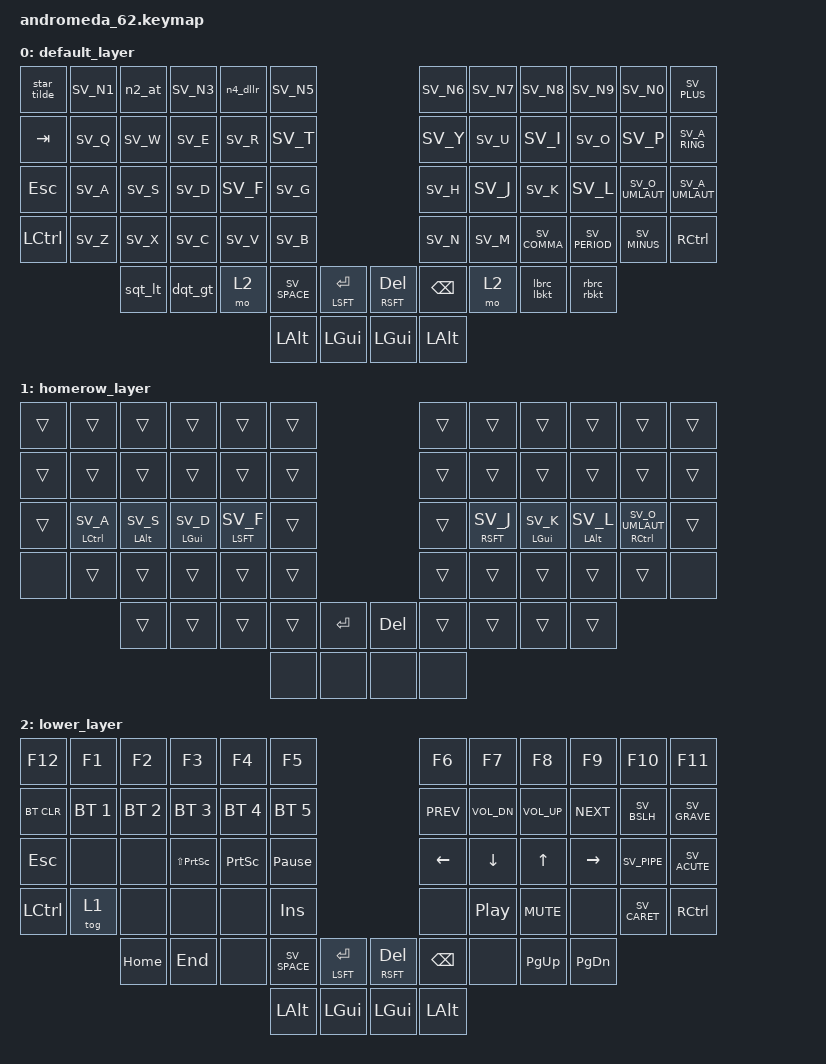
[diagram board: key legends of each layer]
#include <behaviors.dtsi>
#include <dt-bindings/zmk/keys.h>
#include <locale/keys_sv.h>
#include <dt-bindings/zmk/bt.h>

#define KEYS_L \
    0  1  2  3  4  5 \
    12 13 14 15 16 17 \
    24 25 26 27 28 29 \
    36 37 38 39 40 41

#define KEYS_R \
    6  7  8  9  10 11 \
    18 19 20 21 22 23 \
    30 31 32 33 34 35 \
    42 43 44 45 46 47

#define THUMBS \
    48 49 50 51 52 \
    53 54 55 56 57 \
    58 59 60 61

/ {
    behaviors {
        lbrc_lbkt: left_brace_bracket {
            compatible = "zmk,behavior-mod-morph";
            #binding-cells = <0>;
            bindings = <&kp SV_LBRC>, <&kp SV_LBKT>;
            mods = <(MOD_LSFT|MOD_RSFT)>;
        };
        rbrc_rbkt: right_brace_bracket {
            compatible = "zmk,behavior-mod-morph";
            #binding-cells = <0>;
            bindings = <&kp SV_RBRC>, <&kp SV_RBKT>;
            mods = <(MOD_LSFT|MOD_RSFT)>;
        };

        sqt_lt: singleQuote_lessThan {
            compatible = "zmk,behavior-mod-morph";
            #binding-cells = <0>;
            bindings = <&kp SV_SQT>, <&kp SV_LT>;
            mods = <(MOD_LSFT|MOD_RSFT)>;
        };
        dqt_gt: dubbleQuote_greaterThan {
            compatible = "zmk,behavior-mod-morph";
            #binding-cells = <0>;
            bindings = <&kp SV_DQT>, <&kp SV_GT>;
            mods = <(MOD_LSFT|MOD_RSFT)>;
        };

        star_tilde: star_tilde {
            compatible = "zmk,behavior-mod-morph";
            #binding-cells = <0>;
            bindings = <&kp SV_STAR>, <&kp SV_TILDE>;
            mods = <(MOD_LSFT|MOD_RSFT)>;
        };

        /*
         * KEY               -> 2
         * SHIFT + KEY       -> @
         * MOD + SHIFT + KEY -> MOD + SHIFT + 2
         */
        at_gs2: at_guiShiftN2 {
            compatible = "zmk,behavior-mod-morph";
            #binding-cells = <0>;
            bindings = <&kp SV_AT>, <&kp LS(SV_N2)>;
            mods = <(MOD_LCTL|MOD_RCTL|MOD_LALT|MOD_RALT|MOD_LGUI|MOD_RGUI)>;
            keep-mods = <(MOD_LCTL|MOD_RCTL|MOD_LALT|MOD_RALT|MOD_LGUI|MOD_RGUI)>;
        };
        n2_at: n2_at {
            compatible = "zmk,behavior-mod-morph";
            #binding-cells = <0>;
            bindings = <&kp SV_N2>, <&at_gs2>;
            mods = <(MOD_LSFT|MOD_RSFT)>;
        };

        /*
         * KEY               -> 4
         * SHIFT + KEY       -> $
         * MOD + SHIFT + KEY -> MOD + SHIFT + 4
         */
        dllr_gs4: dollar_guiShiftN4 {
            compatible = "zmk,behavior-mod-morph";
            #binding-cells = <0>;
            bindings = <&kp SV_DLLR>, <&kp LS(SV_N4)>;
            mods = <(MOD_LCTL|MOD_RCTL|MOD_LALT|MOD_RALT|MOD_LGUI|MOD_RGUI)>;
            keep-mods = <(MOD_LCTL|MOD_RCTL|MOD_LALT|MOD_RALT|MOD_LGUI|MOD_RGUI)>;
        };
        n4_dllr: n4_dollar {
            compatible = "zmk,behavior-mod-morph";
            #binding-cells = <0>;
            bindings = <&kp SV_N4>, <&dllr_gs4>;
            mods = <(MOD_LSFT|MOD_RSFT)>;
        };

        hml: home_row_mod_left {
            compatible = "zmk,behavior-hold-tap";
            #binding-cells = <2>;

            flavor = "balanced";
            require-prior-idle-ms = <150>;
            tapping-term-ms = <280>;
            quick-tap-ms = <175>;

            bindings = <&kp>, <&kp>;

            hold-trigger-key-positions = <KEYS_R THUMBS>;
            hold-trigger-on-release;
        };

        hmr: home_row_mod_right {
            compatible = "zmk,behavior-hold-tap";
            #binding-cells = <2>;

            flavor = "balanced";
            require-prior-idle-ms = <150>;
            tapping-term-ms = <280>;
            quick-tap-ms = <175>;

            bindings = <&kp>, <&kp>;

            hold-trigger-key-positions = <KEYS_L THUMBS>;
            hold-trigger-on-release;
        };
    };

    keymap {
        compatible = "zmk,keymap";

        default_layer { // Layer 0
// -----------------------------------------------------------------------------------------
// |  *  |  1  |  2  |  3  |  4  |  5  |       **       |  6  |  7  |  8  |  9  |  0  |  +  |
// | TAB |  q  |  w  |  e  |  r  |  t  |       **       |  y  |  u  |  i  |  o  |  p  |  å  |
// | ESC |  a  |  s  |  d  |  f  |  g  |       **       |  h  |  j  |  k  |  l  |  ö  |  ä  |
// |LCTRL|  z  |  x  |  c  |  v  |  b  |       **       |  n  |  m  |  ,  |  .  |  -  |RCTRL|
//             |  '  |  "  |LOWER| SPC |SFT R| ** |SFT D| BSPC|LOWER|  {  |  }  |
//                               | LALT| LGUI| ** | LGUI| LALT|
// upper_layer (shift)
// -----------------------------------------------------------------------------------------
// |  ~  |  !  |  @  |  #  |  $  |  %  |       **       |  &  |  /  |  (  |  )  |  =  |  ?  |
// | TAB |  Q  |  W  |  E  |  R  |  T  |       **       |  Y  |  U  |  I  |  O  |  P  |  Å  |
// | ESC |  A  |  S  |  D  |  F  |  G  |       **       |  H  |  J  |  K  |  L  |  Ö  |  Ä  |
// |LCTRL|  Z  |  X  |  C  |  V  |  B  |       **       |  N  |  M  |  ;  |  :  |  _  |RCTRL|
//             |  <  |  >  |LOWER| SPC |SFT R| ** |SFT D| BSPC|LOWER|  [  |  ]  |
//                               | LALT| LGUI| ** | LGUI| LALT|
            bindings = <
&star_tilde &kp SV_N1  &n2_at   &kp SV_N3 &n4_dllr &kp SV_N5                  /**/              &kp SV_N6 &kp SV_N7 &kp SV_N8    &kp SV_N9     &kp SV_N0       &kp SV_PLUS
&kp TAB     &kp SV_Q   &kp SV_W &kp SV_E  &kp SV_R &kp SV_T                   /**/              &kp SV_Y  &kp SV_U  &kp SV_I     &kp SV_O      &kp SV_P        &kp SV_A_RING
&kp ESC     &kp SV_A   &kp SV_S &kp SV_D  &kp SV_F &kp SV_G                   /**/              &kp SV_H  &kp SV_J  &kp SV_K     &kp SV_L      &kp SV_O_UMLAUT &kp SV_A_UMLAUT
&kp LCTRL   &kp SV_Z   &kp SV_X &kp SV_C  &kp SV_V &kp SV_B                   /**/              &kp SV_N  &kp SV_M  &kp SV_COMMA &kp SV_PERIOD &kp SV_MINUS    &kp RCTRL
                       &sqt_lt  &dqt_gt   &mo 2    &kp SV_SPACE &mt LSFT RET  /**/ &mt RSFT DEL &kp BSPC  &mo 2     &lbrc_lbkt   &rbrc_rbkt
                                                   &kp LALT     &kp LGUI      /**/ &kp LGUI     &kp LALT
            >;
        };

        homerow_layer { // Layer 1
            bindings = <
&trans &trans          &trans         &trans         &trans         &trans         /**/         &trans &trans         &trans         &trans         &trans                 &trans
&trans &trans          &trans         &trans         &trans         &trans         /**/         &trans &trans         &trans         &trans         &trans                 &trans
&trans &hml LCTRL SV_A &hml LALT SV_S &hml LGUI SV_D &hml LSFT SV_F &trans         /**/         &trans &hmr RSFT SV_J &hmr LGUI SV_K &hmr LALT SV_L &hmr RCTRL SV_O_UMLAUT &trans
&none  &trans          &trans         &trans         &trans         &trans         /**/         &trans &trans         &trans         &trans         &trans                 &none
                       &trans         &trans         &trans         &trans &kp RET /**/ &kp DEL &trans &trans         &trans         &trans
                                                                    &none  &none   /**/ &none   &none
            >;
        };

        lower_layer { // Layer 2
// -----------------------------------------------------------------------------------------
// | F12 | F1  | F2  | F3  | F4  | F5  |       **       | F6  | F7  | F8  | F9  | F10 | F11 |
// |BTCLR| BT1 | BT2 | BT3 | BT4 | BT5 |       **       | PREV| VDN | VUP | NEXT|  \  |  `  |
// | ESC |     |     | PSEL|PSCRN| PB  |       **       | LEFT| DOWN| UP  |RIGHT|  |  |  ´  |
// |LCTRL|TOG 1|     |     |     | INS |       **       |     |PAUSE| MUTE|     |  ^  |RCTRL|
//             | HOME| END | XXX | SPC |SFT R| ** |SFT D| BSPC| XXX | PGUP| PGDN|
//                               | LALT| LGUI| ** | LGUI| LALT|
            bindings = <
&kp F12    &kp F1       &kp F2       &kp F3        &kp F4       &kp F5                        /**/              &kp F6     &kp F7       &kp F8       &kp F9     &kp F10      &kp F11
&bt BT_CLR &bt BT_SEL 1 &bt BT_SEL 2 &bt BT_SEL 3  &bt BT_SEL 4 &bt BT_SEL 5                  /**/              &kp C_PREV &kp C_VOL_DN &kp C_VOL_UP &kp C_NEXT &kp SV_BSLH  &kp SV_GRAVE
&kp ESC    &none        &none        &kp LS(PSCRN) &kp PSCRN    &kp PAUSE_BREAK               /**/              &kp LEFT   &kp DOWN     &kp UP       &kp RIGHT  &kp SV_PIPE  &kp SV_ACUTE
&kp LCTRL  &tog 1       &none        &none         &none        &kp INS                       /**/              &none      &kp C_PP     &kp C_MUTE   &none      &kp SV_CARET &kp RCTRL
                        &kp HOME     &kp END       &none        &kp SV_SPACE    &mt LSFT RET  /**/ &mt RSFT DEL &kp BSPC   &none        &kp PG_UP    &kp PG_DN
                                                                &kp LALT        &kp LGUI      /**/ &kp LGUI     &kp LALT
            >;
        };
    };
 };
